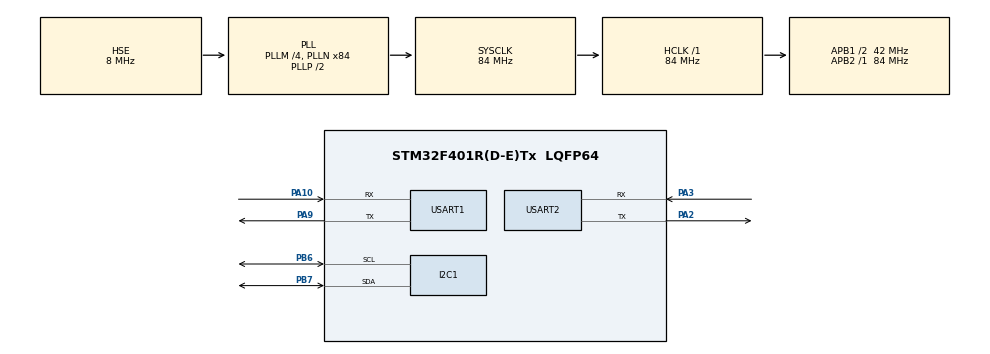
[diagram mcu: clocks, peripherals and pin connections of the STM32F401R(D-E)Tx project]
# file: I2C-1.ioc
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Mcu.Family=STM32F4
Mcu.Name=STM32F401R(D-E)Tx
Mcu.Package=LQFP64
NVIC.PriorityGroup=NVIC_PRIORITYGROUP_4
PA10.Mode=Asynchronous
PA10.Signal=USART1_RX
PA13.Mode=Serial_Wire
PA13.Signal=SYS_JTMS-SWDIO
PA14.Mode=Serial_Wire
PA14.Signal=SYS_JTCK-SWCLK
PA2.Mode=Asynchronous
PA2.Signal=USART2_TX
PA3.Mode=Asynchronous
PA3.Signal=USART2_RX
PA9.Mode=Asynchronous
PA9.Signal=USART1_TX
PB6.Mode=I2C
PB6.Signal=I2C1_SCL
PB7.Mode=I2C
PB7.Signal=I2C1_SDA
PH0\ -\ OSC_IN.Mode=HSE-External-Clock-Source
PH0\ -\ OSC_IN.Signal=RCC_OSC_IN
PH1\ -\ OSC_OUT.Mode=HSE-External-Clock-Source
PH1\ -\ OSC_OUT.Signal=RCC_OSC_OUT
ProjectManager.HeapSize=0x200
ProjectManager.StackSize=0x400
ProjectManager.TargetToolchain=MDK-ARM V5.32
RCC.48MHZClocksFreq_Value=42000000
RCC.AHBFreq_Value=84000000
RCC.APB1CLKDivider=RCC_HCLK_DIV2
RCC.APB1Freq_Value=42000000
RCC.APB1TimFreq_Value=84000000
RCC.APB2Freq_Value=84000000
RCC.APB2TimFreq_Value=84000000
RCC.CortexFreq_Value=84000000
RCC.HCLKFreq_Value=84000000
RCC.HSE_VALUE=8000000
RCC.HSI_VALUE=16000000
RCC.LSE_VALUE=32768
RCC.PLLM=4
RCC.PLLN=84
RCC.PLLSourceVirtual=RCC_PLLSOURCE_HSE
RCC.SYSCLKFreq_VALUE=84000000
RCC.SYSCLKSource=RCC_SYSCLKSOURCE_PLLCLK
RCC.VCOOutputFreq_Value=168000000
USART1.VirtualMode=VM_ASYNC
USART2.VirtualMode=VM_ASYNC
board=custom

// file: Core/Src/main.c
/* USER CODE BEGIN Header */
/**
  ******************************************************************************
  * @file           : main.c
  * @brief          : Main program body
  ******************************************************************************
  * @attention
  *
  * Copyright (c) 2026 STMicroelectronics.
  * All rights reserved.
  *
  * This software is licensed under terms that can be found in the LICENSE file
  * in the root directory of this software component.
  * If no LICENSE file comes with this software, it is provided AS-IS.
  *
  ******************************************************************************
  */
/* USER CODE END Header */
#include "main.h"

/* USER CODE BEGIN Includes */
#include "bme280.h"
#include <stdio.h>
/* USER CODE END Includes */

I2C_HandleTypeDef hi2c1;

UART_HandleTypeDef huart1;
UART_HandleTypeDef huart2;

/* USER CODE BEGIN PV */
extern I2C_HandleTypeDef hi2c1; // Assumes I2C1 is configured via CubeMX
struct bme280_dev dev;
struct bme280_data comp_data;
int8_t rslt = BME280_OK;

// Variables to store final calculated values
float temperature, pressure, humidity;
/* USER CODE END PV */

void SystemClock_Config(void);
static void MX_GPIO_Init(void);
static void MX_I2C1_Init(void);
static void MX_USART1_UART_Init(void);
static void MX_USART2_UART_Init(void);
/* USER CODE BEGIN PFP */
int8_t user_i2c_read(uint8_t reg_addr, uint8_t *reg_data, uint32_t len, void *intf_ptr);
int8_t user_i2c_write(uint8_t reg_addr, const uint8_t *reg_data, uint32_t len, void *intf_ptr);
void user_delay_us(uint32_t period, void *intf_ptr);
/* USER CODE END PFP */

int main(void)
{

  /* MCU Configuration--------------------------------------------------------*/

  /* Reset of all peripherals, Initializes the Flash interface and the Systick. */
  HAL_Init();

  /* Configure the system clock */
  SystemClock_Config();

  /* Initialize all configured peripherals */
  MX_GPIO_Init();
  MX_I2C1_Init();
  MX_USART1_UART_Init();
  MX_USART2_UART_Init();
  /* USER CODE BEGIN 2 */
static uint8_t dev_addr = BME280_I2C_ADDR_PRIM; // 0x76 (use BME280_I2C_ADDR_SEC if SDO is high)
// Set up the API configuration function pointers
dev.intf_ptr = &dev_addr;
dev.intf = BME280_I2C_INTF;
dev.read = user_i2c_read;
dev.write = user_i2c_write;
dev.delay_us = user_delay_us;
// Initialize the BME280 sensor
rslt = bme280_init(&dev);

// Declare a standalone settings structure for the new API
struct bme280_settings settings;
settings.osr_h = BME280_OVERSAMPLING_1X;
settings.osr_p = BME280_OVERSAMPLING_1X;
settings.osr_t = BME280_OVERSAMPLING_1X;
settings.filter = BME280_FILTER_COEFF_OFF;

// Pass &settings as the second argument
rslt = bme280_set_sensor_settings(BME280_SEL_OSR_PRESS | BME280_SEL_OSR_TEMP | BME280_SEL_OSR_HUM | BME280_SEL_FILTER, &settings, &dev);

// Use the updated macro name: BME280_POWERMODE_NORMAL
rslt = bme280_set_sensor_mode(BME280_POWERMODE_NORMAL, &dev);
  /* USER CODE END 2 */

  /* Infinite loop */
  while (1)
  {

    /* USER CODE BEGIN 3 */
// Read and automatically compensate data
/* USER CODE BEGIN 3 */
rslt = bme280_get_sensor_data(BME280_ALL, &comp_data, &dev);
if (rslt == BME280_OK) {
    temperature = comp_data.temperature; // �C
    pressure = comp_data.pressure / 100.0f; // Convert Pa to hPa
    humidity = comp_data.humidity; // % Relative Humidity

    // Add this block to print to your serial terminal
    char uart_buf[100];
    int len = snprintf(uart_buf, sizeof(uart_buf), "Temperature: %.2f C\r\nPressure: %.2f hPa\r\nHumidity: %.2f %%RH\r\n\n", temperature, pressure, humidity);
    HAL_UART_Transmit(&huart2, (uint8_t*)uart_buf, len, HAL_MAX_DELAY);
}
HAL_Delay(1000); // Poll data once per second
  /* USER CODE END 3 */
}

}

void SystemClock_Config(void)
{
  RCC_OscInitTypeDef RCC_OscInitStruct = {0};
  RCC_ClkInitTypeDef RCC_ClkInitStruct = {0};

  /** Configure the main internal regulator output voltage
  */
  __HAL_RCC_PWR_CLK_ENABLE();
  __HAL_PWR_VOLTAGESCALING_CONFIG(PWR_REGULATOR_VOLTAGE_SCALE2);

  /** Initializes the RCC Oscillators according to the specified parameters
  * in the RCC_OscInitTypeDef structure.
  */
  RCC_OscInitStruct.OscillatorType = RCC_OSCILLATORTYPE_HSE;
  RCC_OscInitStruct.HSEState = RCC_HSE_BYPASS;
  RCC_OscInitStruct.PLL.PLLState = RCC_PLL_ON;
  RCC_OscInitStruct.PLL.PLLSource = RCC_PLLSOURCE_HSE;
  RCC_OscInitStruct.PLL.PLLM = 4;
  RCC_OscInitStruct.PLL.PLLN = 84;
  RCC_OscInitStruct.PLL.PLLP = RCC_PLLP_DIV2;
  RCC_OscInitStruct.PLL.PLLQ = 4;
  if (HAL_RCC_OscConfig(&RCC_OscInitStruct) != HAL_OK)
  {
    Error_Handler();
  }

  /** Initializes the CPU, AHB and APB buses clocks
  */
  RCC_ClkInitStruct.ClockType = RCC_CLOCKTYPE_HCLK|RCC_CLOCKTYPE_SYSCLK
                              |RCC_CLOCKTYPE_PCLK1|RCC_CLOCKTYPE_PCLK2;
  RCC_ClkInitStruct.SYSCLKSource = RCC_SYSCLKSOURCE_PLLCLK;
  RCC_ClkInitStruct.AHBCLKDivider = RCC_SYSCLK_DIV1;
  RCC_ClkInitStruct.APB1CLKDivider = RCC_HCLK_DIV2;
  RCC_ClkInitStruct.APB2CLKDivider = RCC_HCLK_DIV1;

  if (HAL_RCC_ClockConfig(&RCC_ClkInitStruct, FLASH_LATENCY_2) != HAL_OK)
  {
    Error_Handler();
  }
}

static void MX_I2C1_Init(void)
{

  hi2c1.Instance = I2C1;
  hi2c1.Init.ClockSpeed = 100000;
  hi2c1.Init.DutyCycle = I2C_DUTYCYCLE_2;
  hi2c1.Init.OwnAddress1 = 0;
  hi2c1.Init.AddressingMode = I2C_ADDRESSINGMODE_7BIT;
  hi2c1.Init.DualAddressMode = I2C_DUALADDRESS_DISABLE;
  hi2c1.Init.OwnAddress2 = 0;
  hi2c1.Init.GeneralCallMode = I2C_GENERALCALL_DISABLE;
  hi2c1.Init.NoStretchMode = I2C_NOSTRETCH_DISABLE;
  if (HAL_I2C_Init(&hi2c1) != HAL_OK)
  {
    Error_Handler();
  }

}

static void MX_USART1_UART_Init(void)
{

  huart1.Instance = USART1;
  huart1.Init.BaudRate = 115200;
  huart1.Init.WordLength = UART_WORDLENGTH_8B;
  huart1.Init.StopBits = UART_STOPBITS_1;
  huart1.Init.Parity = UART_PARITY_NONE;
  huart1.Init.Mode = UART_MODE_TX_RX;
  huart1.Init.HwFlowCtl = UART_HWCONTROL_NONE;
  huart1.Init.OverSampling = UART_OVERSAMPLING_16;
  if (HAL_UART_Init(&huart1) != HAL_OK)
  {
    Error_Handler();
  }

}

static void MX_USART2_UART_Init(void)
{

  huart2.Instance = USART2;
  huart2.Init.BaudRate = 115200;
  huart2.Init.WordLength = UART_WORDLENGTH_8B;
  huart2.Init.StopBits = UART_STOPBITS_1;
  huart2.Init.Parity = UART_PARITY_NONE;
  huart2.Init.Mode = UART_MODE_TX_RX;
  huart2.Init.HwFlowCtl = UART_HWCONTROL_NONE;
  huart2.Init.OverSampling = UART_OVERSAMPLING_16;
  if (HAL_UART_Init(&huart2) != HAL_OK)
  {
    Error_Handler();
  }

}

static void MX_GPIO_Init(void)
{

  /* GPIO Ports Clock Enable */
  __HAL_RCC_GPIOH_CLK_ENABLE();
  __HAL_RCC_GPIOA_CLK_ENABLE();
  __HAL_RCC_GPIOB_CLK_ENABLE();

}

/* USER CODE BEGIN 4 */
int8_t user_i2c_read(uint8_t reg_addr, uint8_t *reg_data, uint32_t len, void *intf_ptr) {
    // Dev address shifted left by 1 is handled by HAL
    uint8_t dev_addr = *(uint8_t*)intf_ptr;
    if (HAL_I2C_Mem_Read(&hi2c1, (dev_addr << 1), reg_addr, I2C_MEMADD_SIZE_8BIT, reg_data, len,
HAL_MAX_DELAY) == HAL_OK) {
        return BME280_OK;
    }
    return BME280_E_COMM_FAIL;
}

int8_t user_i2c_write(uint8_t reg_addr, const uint8_t *reg_data, uint32_t len, void *intf_ptr) {
    uint8_t dev_addr = *(uint8_t*)intf_ptr;
    if (HAL_I2C_Mem_Write(&hi2c1, (dev_addr << 1), reg_addr, I2C_MEMADD_SIZE_8BIT,
(uint8_t*)reg_data, len, HAL_MAX_DELAY) == HAL_OK) {
        return BME280_OK;
    }
    return BME280_E_COMM_FAIL;
}

void user_delay_us(uint32_t period, void *intf_ptr) {
    // HAL provides millisecond delay; convert microseconds upward
    HAL_Delay((period / 1000) + 1);
}
/* USER CODE END 4 */

void Error_Handler(void)
{
  __disable_irq();
  while (1)
  {
  }
}
